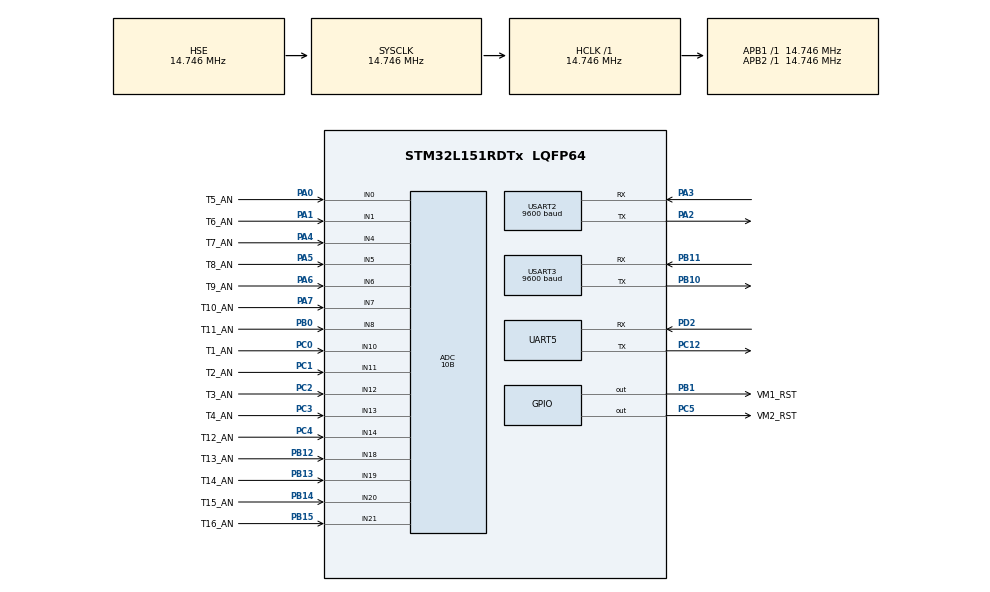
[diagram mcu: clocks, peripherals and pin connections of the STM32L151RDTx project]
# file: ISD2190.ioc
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ADC.Channel-10\#ChannelRegularConversion=ADC_CHANNEL_13
ADC.Channel-11\#ChannelRegularConversion=ADC_CHANNEL_1
ADC.Channel-12\#ChannelRegularConversion=ADC_CHANNEL_5
ADC.Channel-13\#ChannelRegularConversion=ADC_CHANNEL_6
ADC.Channel-14\#ChannelRegularConversion=ADC_CHANNEL_8
ADC.Channel-15\#ChannelRegularConversion=ADC_CHANNEL_18
ADC.Channel-16\#ChannelRegularConversion=ADC_CHANNEL_20
ADC.Channel-17\#ChannelRegularConversion=ADC_CHANNEL_7
ADC.Channel-18\#ChannelRegularConversion=ADC_CHANNEL_14
ADC.Channel-19\#ChannelRegularConversion=ADC_CHANNEL_19
ADC.Channel-20\#ChannelRegularConversion=ADC_CHANNEL_21
ADC.Channel-5\#ChannelRegularConversion=ADC_CHANNEL_10
ADC.Channel-6\#ChannelRegularConversion=ADC_CHANNEL_12
ADC.Channel-7\#ChannelRegularConversion=ADC_CHANNEL_0
ADC.Channel-8\#ChannelRegularConversion=ADC_CHANNEL_4
ADC.Channel-9\#ChannelRegularConversion=ADC_CHANNEL_11
ADC.ContinuousConvMode=ENABLE
ADC.NbrOfConversion=16
ADC.NbrOfConversionFlag=1
ADC.Rank-10\#ChannelRegularConversion=6
ADC.Rank-11\#ChannelRegularConversion=7
ADC.Rank-12\#ChannelRegularConversion=8
ADC.Rank-13\#ChannelRegularConversion=9
ADC.Rank-14\#ChannelRegularConversion=10
ADC.Rank-15\#ChannelRegularConversion=11
ADC.Rank-16\#ChannelRegularConversion=12
ADC.Rank-17\#ChannelRegularConversion=13
ADC.Rank-18\#ChannelRegularConversion=14
ADC.Rank-19\#ChannelRegularConversion=15
ADC.Rank-20\#ChannelRegularConversion=16
ADC.Rank-5\#ChannelRegularConversion=1
ADC.Rank-6\#ChannelRegularConversion=2
ADC.Rank-7\#ChannelRegularConversion=3
ADC.Rank-8\#ChannelRegularConversion=4
ADC.Rank-9\#ChannelRegularConversion=5
ADC.Resolution=ADC_RESOLUTION_10B
ADC.SamplingTime-10\#ChannelRegularConversion=ADC_SAMPLETIME_48CYCLES
ADC.SamplingTime-11\#ChannelRegularConversion=ADC_SAMPLETIME_48CYCLES
ADC.SamplingTime-12\#ChannelRegularConversion=ADC_SAMPLETIME_48CYCLES
ADC.SamplingTime-13\#ChannelRegularConversion=ADC_SAMPLETIME_48CYCLES
ADC.SamplingTime-14\#ChannelRegularConversion=ADC_SAMPLETIME_48CYCLES
ADC.SamplingTime-15\#ChannelRegularConversion=ADC_SAMPLETIME_48CYCLES
ADC.SamplingTime-16\#ChannelRegularConversion=ADC_SAMPLETIME_48CYCLES
ADC.SamplingTime-17\#ChannelRegularConversion=ADC_SAMPLETIME_48CYCLES
ADC.SamplingTime-18\#ChannelRegularConversion=ADC_SAMPLETIME_48CYCLES
ADC.SamplingTime-19\#ChannelRegularConversion=ADC_SAMPLETIME_48CYCLES
ADC.SamplingTime-20\#ChannelRegularConversion=ADC_SAMPLETIME_48CYCLES
ADC.SamplingTime-5\#ChannelRegularConversion=ADC_SAMPLETIME_48CYCLES
ADC.SamplingTime-6\#ChannelRegularConversion=ADC_SAMPLETIME_48CYCLES
ADC.SamplingTime-7\#ChannelRegularConversion=ADC_SAMPLETIME_48CYCLES
ADC.SamplingTime-8\#ChannelRegularConversion=ADC_SAMPLETIME_48CYCLES
ADC.SamplingTime-9\#ChannelRegularConversion=ADC_SAMPLETIME_48CYCLES
ADC.ScanConvMode=ADC_SCAN_ENABLE
Dma.ADC.0.Direction=DMA_PERIPH_TO_MEMORY
Dma.ADC.0.Instance=DMA1_Channel1
Dma.ADC.0.MemDataAlignment=DMA_MDATAALIGN_HALFWORD
Dma.ADC.0.MemInc=DMA_MINC_ENABLE
Dma.ADC.0.Mode=DMA_CIRCULAR
Dma.ADC.0.PeriphDataAlignment=DMA_PDATAALIGN_HALFWORD
Dma.ADC.0.PeriphInc=DMA_PINC_DISABLE
Dma.ADC.0.Priority=DMA_PRIORITY_LOW
Dma.Request0=ADC
Dma.Request1=USART2_RX
Dma.Request2=USART3_RX
Dma.Request3=UART5_RX
Dma.Request4=USART2_TX
Dma.Request5=UART5_TX
Dma.Request6=USART3_TX
Dma.UART5_RX.3.Direction=DMA_PERIPH_TO_MEMORY
Dma.UART5_RX.3.Instance=DMA2_Channel2
Dma.UART5_RX.3.MemDataAlignment=DMA_MDATAALIGN_BYTE
Dma.UART5_RX.3.MemInc=DMA_MINC_ENABLE
Dma.UART5_RX.3.Mode=DMA_NORMAL
Dma.UART5_RX.3.PeriphDataAlignment=DMA_PDATAALIGN_BYTE
Dma.UART5_RX.3.PeriphInc=DMA_PINC_DISABLE
Dma.UART5_RX.3.Priority=DMA_PRIORITY_LOW
Dma.UART5_TX.5.Direction=DMA_MEMORY_TO_PERIPH
Dma.UART5_TX.5.Instance=DMA2_Channel1
Dma.UART5_TX.5.MemDataAlignment=DMA_MDATAALIGN_BYTE
Dma.UART5_TX.5.MemInc=DMA_MINC_ENABLE
Dma.UART5_TX.5.Mode=DMA_NORMAL
Dma.UART5_TX.5.PeriphDataAlignment=DMA_PDATAALIGN_BYTE
Dma.UART5_TX.5.PeriphInc=DMA_PINC_DISABLE
Dma.UART5_TX.5.Priority=DMA_PRIORITY_LOW
Dma.USART2_RX.1.Direction=DMA_PERIPH_TO_MEMORY
Dma.USART2_RX.1.Instance=DMA1_Channel6
Dma.USART2_RX.1.MemDataAlignment=DMA_MDATAALIGN_BYTE
Dma.USART2_RX.1.MemInc=DMA_MINC_ENABLE
Dma.USART2_RX.1.Mode=DMA_NORMAL
Dma.USART2_RX.1.PeriphDataAlignment=DMA_PDATAALIGN_BYTE
Dma.USART2_RX.1.PeriphInc=DMA_PINC_DISABLE
Dma.USART2_RX.1.Priority=DMA_PRIORITY_LOW
Dma.USART2_TX.4.Direction=DMA_MEMORY_TO_PERIPH
Dma.USART2_TX.4.Instance=DMA1_Channel7
Dma.USART2_TX.4.MemDataAlignment=DMA_MDATAALIGN_BYTE
Dma.USART2_TX.4.MemInc=DMA_MINC_ENABLE
Dma.USART2_TX.4.Mode=DMA_NORMAL
Dma.USART2_TX.4.PeriphDataAlignment=DMA_PDATAALIGN_BYTE
Dma.USART2_TX.4.PeriphInc=DMA_PINC_DISABLE
Dma.USART2_TX.4.Priority=DMA_PRIORITY_LOW
Dma.USART3_RX.2.Direction=DMA_PERIPH_TO_MEMORY
Dma.USART3_RX.2.Instance=DMA1_Channel3
Dma.USART3_RX.2.MemDataAlignment=DMA_MDATAALIGN_BYTE
Dma.USART3_RX.2.MemInc=DMA_MINC_ENABLE
Dma.USART3_RX.2.Mode=DMA_NORMAL
Dma.USART3_RX.2.PeriphDataAlignment=DMA_PDATAALIGN_BYTE
Dma.USART3_RX.2.PeriphInc=DMA_PINC_DISABLE
Dma.USART3_RX.2.Priority=DMA_PRIORITY_LOW
Dma.USART3_TX.6.Direction=DMA_MEMORY_TO_PERIPH
Dma.USART3_TX.6.Instance=DMA1_Channel2
Dma.USART3_TX.6.MemDataAlignment=DMA_MDATAALIGN_BYTE
Dma.USART3_TX.6.MemInc=DMA_MINC_ENABLE
Dma.USART3_TX.6.Mode=DMA_NORMAL
Dma.USART3_TX.6.PeriphDataAlignment=DMA_PDATAALIGN_BYTE
Dma.USART3_TX.6.PeriphInc=DMA_PINC_DISABLE
Dma.USART3_TX.6.Priority=DMA_PRIORITY_LOW
FREERTOS.Tasks01=DataCollectTask,24,1024,Data_Collect_Task,Default,NULL,Static,DataCollectTaskBuffer,DataCollectTaskControlBlock;VM1ReceiveTask,48,128,VM1_Receive_Task,Default,NULL,Static,VM1ReceiveTaskBuffer,VM1ReceiveTaskControlBlock;VM2ReceiveTask,48,128,VM2_Receive_Task,Default,NULL,Static,VM2ReceiveTaskBuffer,VM2ReceiveTaskControlBlock
FREERTOS.configTOTAL_HEAP_SIZE=1500
FREERTOS.configUSE_NEWLIB_REENTRANT=0
Mcu.Family=STM32L1
Mcu.Name=STM32L151RDTx
Mcu.Package=LQFP64
NVIC.DMA1_Channel1_IRQn=true\:5\:0\:false\:false\:true\:true\:false\:true\:true
NVIC.DMA1_Channel2_IRQn=true\:5\:0\:false\:false\:true\:true\:false\:true\:true
NVIC.DMA1_Channel3_IRQn=true\:5\:0\:false\:false\:true\:true\:false\:true\:true
NVIC.DMA1_Channel6_IRQn=true\:5\:0\:false\:false\:true\:true\:false\:true\:true
NVIC.DMA1_Channel7_IRQn=true\:5\:0\:false\:false\:true\:true\:false\:true\:true
NVIC.DMA2_Channel1_IRQn=true\:5\:0\:false\:false\:true\:true\:false\:true\:true
NVIC.DMA2_Channel2_IRQn=true\:5\:0\:false\:false\:true\:true\:false\:true\:true
NVIC.PriorityGroup=NVIC_PRIORITYGROUP_4
NVIC.TIM2_IRQn=true\:5\:0\:false\:false\:true\:true\:true\:true\:true
NVIC.TIM7_IRQn=true\:15\:0\:false\:false\:true\:false\:false\:true\:true
NVIC.TimeBase=TIM7_IRQn
NVIC.TimeBaseIP=TIM7
NVIC.UART5_IRQn=true\:5\:0\:false\:false\:true\:true\:true\:true\:true
NVIC.USART2_IRQn=true\:5\:0\:false\:false\:true\:true\:true\:true\:true
NVIC.USART3_IRQn=true\:5\:0\:false\:false\:true\:true\:true\:true\:true
PA0-WKUP1.GPIO_Label=T5_AN
PA0-WKUP1.Mode=IN0
PA0-WKUP1.Signal=ADC_IN0
PA1.GPIO_Label=T6_AN
PA1.Mode=IN1
PA1.Signal=ADC_IN1
PA13.Mode=Serial_Wire
PA13.Signal=SYS_JTMS-SWDIO
PA14.Mode=Serial_Wire
PA14.Signal=SYS_JTCK-SWCLK
PA2.Mode=Asynchronous
PA2.Signal=USART2_TX
PA3.GPIO_PuPd=GPIO_PULLUP
PA3.Mode=Asynchronous
PA3.Signal=USART2_RX
PA4.GPIO_Label=T7_AN
PA4.Mode=IN4
PA4.Signal=ADC_IN4
PA5.GPIO_Label=T8_AN
PA5.Mode=IN5
PA5.Signal=ADC_IN5
PA6.GPIO_Label=T9_AN
PA6.Mode=IN6
PA6.Signal=ADC_IN6
PA7.GPIO_Label=T10_AN
PA7.Mode=IN7
PA7.Signal=ADC_IN7
PB0.GPIO_Label=T11_AN
PB0.Mode=IN8
PB0.Signal=ADC_IN8
PB1.GPIO_Label=VM1_RST
PB1.GPIO_PuPd=GPIO_PULLUP
PB1.PinState=GPIO_PIN_SET
PB1.Signal=GPIO_Output
PB10.Mode=Asynchronous
PB10.Signal=USART3_TX
PB11.GPIO_PuPd=GPIO_PULLUP
PB11.Mode=Asynchronous
PB11.Signal=USART3_RX
PB12.GPIO_Label=T13_AN
PB12.Mode=IN18
PB12.Signal=ADC_IN18
PB13.GPIO_Label=T14_AN
PB13.Mode=IN19
PB13.Signal=ADC_IN19
PB14.GPIO_Label=T15_AN
PB14.Mode=IN20
PB14.Signal=ADC_IN20
PB15.GPIO_Label=T16_AN
PB15.Mode=IN21
PB15.Signal=ADC_IN21
PC0.GPIO_Label=T1_AN
PC0.Mode=IN10
PC0.Signal=ADC_IN10
PC1.GPIO_Label=T2_AN
PC1.Mode=IN11
PC1.Signal=ADC_IN11
PC12.Mode=Asynchronous
PC12.Signal=UART5_TX
PC2.GPIO_Label=T3_AN
PC2.Mode=IN12
PC2.Signal=ADC_IN12
PC3.GPIO_Label=T4_AN
PC3.Mode=IN13
PC3.Signal=ADC_IN13
PC4.GPIO_Label=T12_AN
PC4.Mode=IN14
PC4.Signal=ADC_IN14
PC5.GPIO_Label=VM2_RST
PC5.GPIO_PuPd=GPIO_PULLUP
PC5.PinState=GPIO_PIN_SET
PC5.Signal=GPIO_Output
PD2.Mode=Asynchronous
PD2.Signal=UART5_RX
PH0-OSC_IN.Mode=HSE-External-Clock-Source
PH0-OSC_IN.Signal=RCC_OSC_IN
ProjectManager.HeapSize=0x200
ProjectManager.StackSize=0x400
ProjectManager.TargetToolchain=STM32CubeIDE
RCC.48MHZClocksFreq_Value=24000000
RCC.AHBFreq_Value=14745600
RCC.APB1Freq_Value=14745600
RCC.APB1TimFreq_Value=14745600
RCC.APB2Freq_Value=14745600
RCC.APB2TimFreq_Value=14745600
RCC.HCLKFreq_Value=14745600
RCC.HSE_VALUE=14745600
RCC.HSI_VALUE=16000000
RCC.LSE_VALUE=32768
RCC.MSI_VALUE=2097000
RCC.SYSCLKFreq_VALUE=14745600
RCC.SYSCLKSource=RCC_SYSCLKSOURCE_HSE
RCC.VCOOutputFreq_Value=48000000
TIM2.Period=23999
TIM2.Prescaler=36863
UART5.VirtualMode=Asynchronous
USART2.BaudRate=9600
USART2.VirtualMode=VM_ASYNC
USART3.BaudRate=9600
USART3.VirtualMode=VM_ASYNC
VP_FREERTOS_VS_CMSIS_V2.Mode=CMSIS_V2
VP_IWDG_VS_IWDG.Mode=IWDG_Activate
VP_SYS_VS_tim7.Mode=TIM7
VP_TIM2_VS_ClockSourceINT.Mode=Internal
board=custom

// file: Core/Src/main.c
/* USER CODE BEGIN Header */
/**
  ******************************************************************************
  * @file           : main.c
  * @brief          : Main program body
  ******************************************************************************
  * @attention
  *
  * Copyright (c) 2024 STMicroelectronics.
  * All rights reserved.
  *
  * This software is licensed under terms that can be found in the LICENSE file
  * in the root directory of this software component.
  * If no LICENSE file comes with this software, it is provided AS-IS.
  *
  ******************************************************************************
  */
/* USER CODE END Header */
#include "main.h"
#include "cmsis_os.h"
#include "adc.h"
#include "dma.h"
#include "iwdg.h"
#include "tim.h"
#include "usart.h"
#include "gpio.h"

/* USER CODE BEGIN Includes */
#include "flash.h"
#include "queue.h"
/* USER CODE END Includes */

void SystemClock_Config(void);
void MX_FREERTOS_Init(void);

/* USER CODE BEGIN 0 */

volatile u8 Scan_Start; //置1开始扫描

volatile u8 ble_flag;    //蓝牙指令接收
volatile u8 ble_len;
u8 BleBuf[BLE_CONFIG_BUFFER_SIZE];
volatile u8 Cmd;              //蓝牙指令

u8 Uart2Buf[VM_BLE_RX_BUFFER_SIZE];
u8 Uart3Buf[VM_BLE_RX_BUFFER_SIZE];

volatile u8 VM1_Init;    //VM1初始化
volatile u8 VM2_Init;
volatile u8 VM1_Busy;    //VM1工作中
volatile u8 VM2_Busy;
volatile u8 VM1_OK;      //VM1读取成功
volatile u8 VM2_OK;
volatile u8 VM_ERR;      //模块异常，尝试初始化

u16 ADC_Value[ADC_CHANCEL_NUM]; //adc采集值
int16_t Temp_Value[ADC_CHANCEL_NUM]; //实际温度

SensorInfo Sensor[16];   //数据结构体

QueueHandle_t usart2Queue;
QueueHandle_t usart3Queue;
//数采通道 -> 振弦通道 -> adc通道 对照
// 1  -> 8  -> 10 ;   2  -> 5  -> 12 ;   3  -> 1  -> 0  ;  4  -> 3  -> 4  ;
// 5  -> 7  -> 11 ;   6  -> 6  -> 13 ;   7  -> 2  -> 1  ;  8  -> 4  -> 5  ;
// 9  -> 10 -> 6  ;   10 -> 11 -> 8  ;   11 -> 15 -> 18 ;  12 -> 13 -> 20 ;
// 13 -> 9  -> 7  ;   14 -> 12 -> 14 ;   15 -> 16 -> 19 ;  16 -> 14 -> 21 ;

ConfigInfo Config;   //配置结构体，包括ip和id

/* USER CODE END Private defines */
/* USER CODE END 0 */

int main(void)
{

  /* MCU Configuration--------------------------------------------------------*/

  /* Reset of all peripherals, Initializes the Flash interface and the Systick. */
  HAL_Init();

  /* Configure the system clock */
  SystemClock_Config();

  /* Initialize all configured peripherals */
  MX_GPIO_Init();
  MX_DMA_Init();
  MX_ADC_Init();
  MX_USART3_UART_Init();
  MX_USART2_UART_Init();
  MX_TIM2_Init();
  MX_UART5_Init();
  MX_IWDG_Init();
  /* USER CODE BEGIN 2 */
    __HAL_UART_ENABLE_IT(&huart2, UART_IT_IDLE);
    __HAL_UART_ENABLE_IT(&huart3, UART_IT_IDLE);
    __HAL_UART_ENABLE_IT(&huart5, UART_IT_IDLE);

    HAL_UARTEx_ReceiveToIdle_DMA(&huart2, Uart2Buf, VM_BLE_RX_BUFFER_SIZE);
    HAL_UARTEx_ReceiveToIdle_DMA(&huart3, Uart3Buf, VM_BLE_RX_BUFFER_SIZE);
    HAL_UARTEx_ReceiveToIdle_DMA(&huart5, BleBuf, BLE_CONFIG_BUFFER_SIZE);
//    Flash_Erase();
    Flash_Read();

//    Config_Erase();
    Config_Read();

    //更改蓝牙名称
    printf("TTM:REN-IAD101\r\n\0");

  /* USER CODE END 2 */

  /* Init scheduler */
  osKernelInitialize();

  /* Call init function for freertos objects (in cmsis_os2.c) */
  MX_FREERTOS_Init();

  /* Start scheduler */
  osKernelStart();

  /* We should never get here as control is now taken by the scheduler */

  /* Infinite loop */
    while (1) {

    }
}

void SystemClock_Config(void)
{
  RCC_OscInitTypeDef RCC_OscInitStruct = {0};
  RCC_ClkInitTypeDef RCC_ClkInitStruct = {0};

  /** Configure the main internal regulator output voltage
  */
  __HAL_PWR_VOLTAGESCALING_CONFIG(PWR_REGULATOR_VOLTAGE_SCALE1);

  /** Initializes the RCC Oscillators according to the specified parameters
  * in the RCC_OscInitTypeDef structure.
  */
  RCC_OscInitStruct.OscillatorType = RCC_OSCILLATORTYPE_HSI|RCC_OSCILLATORTYPE_LSI
                              |RCC_OSCILLATORTYPE_HSE;
  RCC_OscInitStruct.HSEState = RCC_HSE_BYPASS;
  RCC_OscInitStruct.HSIState = RCC_HSI_ON;
  RCC_OscInitStruct.HSICalibrationValue = RCC_HSICALIBRATION_DEFAULT;
  RCC_OscInitStruct.LSIState = RCC_LSI_ON;
  RCC_OscInitStruct.PLL.PLLState = RCC_PLL_NONE;
  if (HAL_RCC_OscConfig(&RCC_OscInitStruct) != HAL_OK)
  {
    Error_Handler();
  }

  /** Initializes the CPU, AHB and APB buses clocks
  */
  RCC_ClkInitStruct.ClockType = RCC_CLOCKTYPE_HCLK|RCC_CLOCKTYPE_SYSCLK
                              |RCC_CLOCKTYPE_PCLK1|RCC_CLOCKTYPE_PCLK2;
  RCC_ClkInitStruct.SYSCLKSource = RCC_SYSCLKSOURCE_HSE;
  RCC_ClkInitStruct.AHBCLKDivider = RCC_SYSCLK_DIV1;
  RCC_ClkInitStruct.APB1CLKDivider = RCC_HCLK_DIV1;
  RCC_ClkInitStruct.APB2CLKDivider = RCC_HCLK_DIV1;

  if (HAL_RCC_ClockConfig(&RCC_ClkInitStruct, FLASH_LATENCY_0) != HAL_OK)
  {
    Error_Handler();
  }
}

void HAL_TIM_PeriodElapsedCallback(TIM_HandleTypeDef *htim)
{
  /* USER CODE BEGIN Callback 0 */
    if (htim->Instance == TIM2) {
        HAL_TIM_Base_Stop_IT(&htim2);
        __HAL_TIM_SET_COUNTER(&htim2, 0);
        VM_ERR = 1;
        VM1_Busy = 0;
        VM2_Busy = 0;
        Scan_Start = 0;

        if(!VM1_OK)
            VM1_Init = 0;

        if(!VM2_OK)
            VM2_Init = 0;
    }
  /* USER CODE END Callback 0 */
  if (htim->Instance == TIM7) {
    HAL_IncTick();
  }
}

void Error_Handler(void)
{
    __disable_irq();
    while (1) {
    }
}

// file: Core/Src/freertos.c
/* USER CODE BEGIN Header */
/**
  ******************************************************************************
  * File Name          : freertos.c
  * Description        : Code for freertos applications
  ******************************************************************************
  * @attention
  *
  * Copyright (c) 2024 STMicroelectronics.
  * All rights reserved.
  *
  * This software is licensed under terms that can be found in the LICENSE file
  * in the root directory of this software component.
  * If no LICENSE file comes with this software, it is provided AS-IS.
  *
  ******************************************************************************
  */
/* USER CODE END Header */

#include "FreeRTOS.h"
#include "task.h"
#include "main.h"
#include "cmsis_os.h"

/* USER CODE BEGIN Includes */
#include "usart.h"
#include "tim.h"
#include "VMxx.h"
#include "CollectData.h"
#include "bt4531.h"
#include "queue.h"
#include <string.h>
/* USER CODE END Includes */

typedef StaticTask_t osStaticThreadDef_t;

/* USER CODE BEGIN Variables */
extern QueueHandle_t usart2Queue;
extern QueueHandle_t usart3Queue;

extern volatile u8 VM1_Init;
extern volatile u8 VM2_Init;
extern volatile u8 VM1_Busy;
extern volatile u8 VM2_Busy;
extern volatile u8 VM1_OK;
extern volatile u8 VM2_OK;
extern volatile u8 VM_ERR;

extern volatile u8 ble_len;
extern volatile u8 BleBuf[BLE_CONFIG_BUFFER_SIZE];
extern volatile u8 ble_flag;

extern volatile SensorInfo Sensor[16];

extern volatile u8 Scan_Start;
extern volatile u8 Cmd;

extern u8 Uart2Buf[VM_BLE_RX_BUFFER_SIZE];
extern u8 Uart3Buf[VM_BLE_RX_BUFFER_SIZE];
/* USER CODE END Variables */
/* Definitions for DataCollectTask */
osThreadId_t DataCollectTaskHandle;
uint32_t DataCollectTaskBuffer[ 1024 ];
osStaticThreadDef_t DataCollectTaskControlBlock;
const osThreadAttr_t DataCollectTask_attributes = {
  .name = "DataCollectTask",
  .cb_mem = &DataCollectTaskControlBlock,
  .cb_size = sizeof(DataCollectTaskControlBlock),
  .stack_mem = &DataCollectTaskBuffer[0],
  .stack_size = sizeof(DataCollectTaskBuffer),
  .priority = (osPriority_t) osPriorityNormal,
};
/* Definitions for VM1ReceiveTask */
osThreadId_t VM1ReceiveTaskHandle;
uint32_t VM1ReceiveTaskBuffer[ 128 ];
osStaticThreadDef_t VM1ReceiveTaskControlBlock;
const osThreadAttr_t VM1ReceiveTask_attributes = {
  .name = "VM1ReceiveTask",
  .cb_mem = &VM1ReceiveTaskControlBlock,
  .cb_size = sizeof(VM1ReceiveTaskControlBlock),
  .stack_mem = &VM1ReceiveTaskBuffer[0],
  .stack_size = sizeof(VM1ReceiveTaskBuffer),
  .priority = (osPriority_t) osPriorityRealtime,
};
/* Definitions for VM2ReceiveTask */
osThreadId_t VM2ReceiveTaskHandle;
uint32_t VM2ReceiveTaskBuffer[ 128 ];
osStaticThreadDef_t VM2ReceiveTaskControlBlock;
const osThreadAttr_t VM2ReceiveTask_attributes = {
  .name = "VM2ReceiveTask",
  .cb_mem = &VM2ReceiveTaskControlBlock,
  .cb_size = sizeof(VM2ReceiveTaskControlBlock),
  .stack_mem = &VM2ReceiveTaskBuffer[0],
  .stack_size = sizeof(VM2ReceiveTaskBuffer),
  .priority = (osPriority_t) osPriorityRealtime,
};

/* USER CODE BEGIN FunctionPrototypes */
unsigned int crc16(unsigned char *dat, unsigned int len);

/* USER CODE END FunctionPrototypes */

void Data_Collect_Task(void *argument);
void VM1_Receive_Task(void *argument);
void VM2_Receive_Task(void *argument);

void MX_FREERTOS_Init(void); /* (MISRA C 2004 rule 8.1) */

void MX_FREERTOS_Init(void) {

  /* USER CODE BEGIN RTOS_QUEUES */
    /* add queues, ... */
    usart2Queue = xQueueCreate(8, sizeof(uint8_t));
    usart3Queue = xQueueCreate(8, sizeof(uint8_t));
  /* USER CODE END RTOS_QUEUES */

  /* Create the thread(s) */
  /* creation of DataCollectTask */
  DataCollectTaskHandle = osThreadNew(Data_Collect_Task, NULL, &DataCollectTask_attributes);

  /* creation of VM1ReceiveTask */
  VM1ReceiveTaskHandle = osThreadNew(VM1_Receive_Task, NULL, &VM1ReceiveTask_attributes);

  /* creation of VM2ReceiveTask */
  VM2ReceiveTaskHandle = osThreadNew(VM2_Receive_Task, NULL, &VM2ReceiveTask_attributes);

}

void Data_Collect_Task(void *argument)
{
  /* USER CODE BEGIN Data_Collect_Task */
    /* Infinite loop */
    for (;;) {
        if (!VM1_Init) {
            if (VM1_Busy) {
                HAL_TIM_Base_Start_IT(&htim2);
                continue;
            }
            VM1_OK = 0;
            VM1_Busy = 1;
            HAL_TIM_Base_Start_IT(&htim2);
            Init_VM(huart2);
        }
        if (!VM2_Init) {
            if (VM2_Busy) {
                HAL_TIM_Base_Start_IT(&htim2);
                continue;
            }
            VM2_OK = 0;
            VM2_Busy = 1;
            HAL_TIM_Base_Start_IT(&htim2);
            Init_VM(huart3);
        }

        if (VM_ERR && VM1_Init && VM2_Init) {
            VM_ERR = 0;
            StatuCallback(Cmd, 0x13);
        }

        if (ble_flag) {
            ble_flag = 0;
            BleProcess();
        }

        if (VM1_Init && VM2_Init && !VM1_Busy && !VM2_Busy && Scan_Start) {
            Data_Collect();

            if(VM_ERR){
                continue;
            }

            //蓝牙指令处理
            if (Cmd == 0x71)
                TotalDataSend();
            if (Cmd == 0x40)
                ConfigInit();

            Scan_Start = 0;
        }
        osDelay(50);
    }
  /* USER CODE END Data_Collect_Task */
}

void VM1_Receive_Task(void *argument)
{
  /* USER CODE BEGIN VM1_Receive_Task */
    u8 rx_buffer[VM_BLE_RX_BUFFER_SIZE];
    u8 Size;
    /* Infinite loop */
    for (;;) {
        if (xQueueReceive(usart2Queue, &Size, portMAX_DELAY)) {
            // 处理接收到的数据
            memcpy(rx_buffer, Uart2Buf, Size);

            if (Size >= 3) {
                //crc16校验
                u16 received_check = crc16(rx_buffer, Size - 2);
                u16 crc_check = (rx_buffer[Size - 1] << 8) + rx_buffer[Size - 2];

                u8 ack_received = 0;
                u8 time = 0;

                if (received_check == crc_check) {
                    // 数据包校验通过
                    if (0x05 == rx_buffer[3] && 0x06 == rx_buffer[1]) {
                        VM1_Init = 1;
                        memset(rx_buffer, 0, VM_BLE_RX_BUFFER_SIZE);

                        __HAL_TIM_SET_COUNTER(&htim2, 0);
                        HAL_TIM_Base_Stop_IT(&htim2);

                        VM1_OK = 1;
                        VM1_Busy = 0;
                    }
                    if (0x03 == rx_buffer[3] && 0x06 == rx_buffer[1]) {
                        Verify_VM(huart2);
                        time++;
                    }
                    if(0x03 == rx_buffer[1] && 0x02 == rx_buffer[2]) {
                        time++;
                        // 等待设备状态寄存器的确认
                        if (rx_buffer[4] & (1 << 4)) {
                            // bit4为1，说明测量完成
                            ack_received = 1;
                            time = 0;
                            Read_VM(huart2);
                        }
                        // bit15为1，说明无设备
                        if ((rx_buffer[3] & (1 << 7)) && time > 17) {

                            for (u8 j = 0; j < 8; j++) {
                                Sensor[j].freq[0] = 0;
                                Sensor[j].freq_status = 1;
                            }
                            Clear_VM(huart2);
                            VM1_OK = 1;
                            VM1_Busy = 0;
                            time = 0;
                            ack_received = 1;
                        }
                        if (!ack_received) {
                            // 每隔3秒发送一次命令以获取设备状态
                            osDelay(pdMS_TO_TICKS(3000));
                            Verify_VM(huart2);
                        }
                    }
                    if (0x03 == rx_buffer[1] && 0x10 == rx_buffer[2]) {
                        u8 sensor_indices[] = {2, 6, 3, 7, 1, 5, 4, 0}; // 传感器索引数组
                        u8 index = 0; // 初始化索引

                        for (u8 i = 3; i < 19; i += 2) {
                            Sensor[sensor_indices[index]].freq[0] =
                                    ((uint16_t) rx_buffer[i] << 8) | rx_buffer[i + 1];
                            if(!Sensor[sensor_indices[index]].freq[0]){
                                Sensor[sensor_indices[index]].freq_status = 1;
                            } else{
                                Sensor[sensor_indices[index]].freq_status = 0;
                            }
                            index++;
                        }
                        Clear_VM(huart2);
                        VM1_OK = 1;
                        VM1_Busy = 0;
                    }
                }
            }
        }
        osDelay(1);
    }
  /* USER CODE END VM1_Receive_Task */
}

void VM2_Receive_Task(void *argument)
{
  /* USER CODE BEGIN VM2_Receive_Task */
    u8 rx_buffer[VM_BLE_RX_BUFFER_SIZE];
    u8 Size;
    /* Infinite loop */
    for (;;) {
        if (xQueueReceive(usart3Queue, &Size, portMAX_DELAY)) {
            // 处理接收到的数据
            memcpy(rx_buffer, Uart3Buf, Size);

            if (Size >= 3) {
                //crc16校验
                u16 received_check = crc16(rx_buffer, Size - 2);
                u16 crc_check = (rx_buffer[Size - 1] << 8) + rx_buffer[Size - 2];

                u8 ack_received = 0;
                u8 time = 0;

                if (crc_check == received_check) {
                    // 数据包校验通过
                    if (0x05 == rx_buffer[3] && 0x06 == rx_buffer[1]) {
                        VM2_Init = 1;
                        memset(rx_buffer, 0, VM_BLE_RX_BUFFER_SIZE);

                        __HAL_TIM_SET_COUNTER(&htim2, 0);
                        HAL_TIM_Base_Stop_IT(&htim2);

                        VM2_OK = 1;
                        VM2_Busy = 0;
                    }
                    if (0x03 == rx_buffer[3] && 0x06 == rx_buffer[1]) {
                        Verify_VM(huart3);
                        time++;
                    }
                    if(0x03 == rx_buffer[1] && 0x02 == rx_buffer[2]) {
                        time++;
                        // 等待设备状态寄存器的确认
                        if (rx_buffer[4] & (1 << 4)) {
                            // bit4为1，说明测量完成
                            ack_received = 1;
                            time = 0;
                            Read_VM(huart3);
                        }
                        // bit15为1，说明无设备
                        if ((rx_buffer[3] & (1 << 7)) && time > 17) {
                            for (u8 j = 0; j < 8; j++) {
                                Sensor[j + 8].freq[0] = 0;
                                Sensor[j].freq_status = 1;
                            }
                            Clear_VM(huart3);
                            VM2_OK = 1;
                            VM2_Busy = 0;
                            time = 0;
                            ack_received = 1;
                        }
                        if (!ack_received) {
                            // 每隔3秒发送一次命令以获取设备状态
                            osDelay(pdMS_TO_TICKS(3000));
                            Verify_VM(huart3);
                        }
                    }
                    if (0x03 == rx_buffer[1] && 0x10 == rx_buffer[2]) {
                        u8 sensor_indices[] = {12, 8, 9, 13, 11, 15, 10, 14}; // 传感器索引数组
                        u8 index = 0; // 初始化索引

                        for (u8 i = 3; i < 19; i += 2) {
                            Sensor[sensor_indices[index]].freq[0] =
                                    ((uint16_t) rx_buffer[i] << 8) | rx_buffer[i + 1];
                            if(!Sensor[sensor_indices[index]].freq[0]){
                                Sensor[sensor_indices[index]].freq_status = 1;
                            } else{
                                Sensor[sensor_indices[index]].freq_status = 0;
                            }
                            index++;
                        }
                        Clear_VM(huart3);
                        VM2_OK = 1;
                        VM2_Busy = 0;
                    }
                }
            }
        }
        osDelay(1);
    }
  /* USER CODE END VM2_Receive_Task */
}

/* USER CODE BEGIN Application */
unsigned int crc16(unsigned char *dat, unsigned int len) {
    unsigned int crc = 0xffff;
    unsigned char i;
    while (len != 0) {
        crc ^= *dat;
        for (i = 0; i < 8; i++) {
            if ((crc & 0x0001) == 0)
                crc = crc >> 1;
            else {
                crc = crc >> 1;
                crc ^= 0xa001;
            }
        }
        len -= 1;
        dat++;
    }
    return crc;
}

/* USER CODE END Application */
